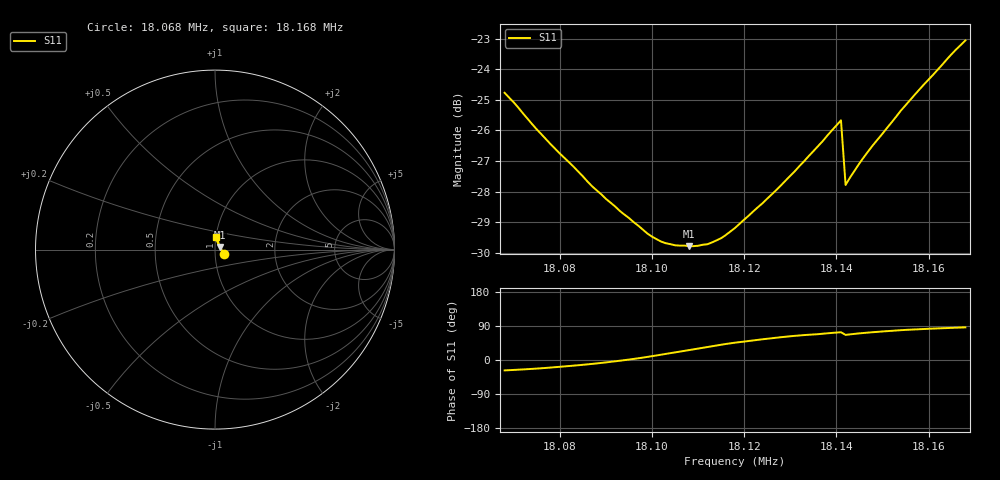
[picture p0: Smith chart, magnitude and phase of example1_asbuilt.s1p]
!File created by NanoVNA-F
# HZ S RI R 50
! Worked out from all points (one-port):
!   101 points, 18.068 MHz to 18.168 MHz, reference 50 ohm
!   lowest |S11| = -29.8 dB at 18.108 MHz (marker M1), VSWR 1.07, Z = 53 + j1.51 ohm
!   |S11| at or under -10 dB: start of sweep to end of sweep
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1.8068e7  0.0512 -0.0266
1.807e7  0.05 -0.0246
1.8075e7  0.0464 -0.0193
1.8081e7  0.0432 -0.0131
1.8087e7  0.04 -0.00726
1.8094e7  0.0365 -0.000241
1.8099e7  0.0336 0.00483
1.8101e7  0.0325 0.00697
1.8103e7  0.0315 0.00912
1.8106e7  0.0301 0.0122
1.8108e7  0.0291 0.0142
1.811e7  0.0281 0.0163
1.8112e7  0.027 0.0183
1.8113e7  0.0265 0.0194
1.8115e7  0.0255 0.0216
1.8119e7  0.024 0.0259
1.8124e7  0.022 0.0311
1.8131e7  0.019 0.0386
1.8137e7  0.017 0.045
1.8141e7  0.015 0.0499
1.8142e7  0.0164 0.0374
1.8144e7  0.0154 0.0403
1.8146e7  0.0145 0.043
1.8148e7  0.0135 0.0455
1.8154e7  0.0106 0.0529
1.8156e7  0.0097 0.0553
1.8165e7  0.00602 0.0665
1.8168e7  0.00488 0.0701
